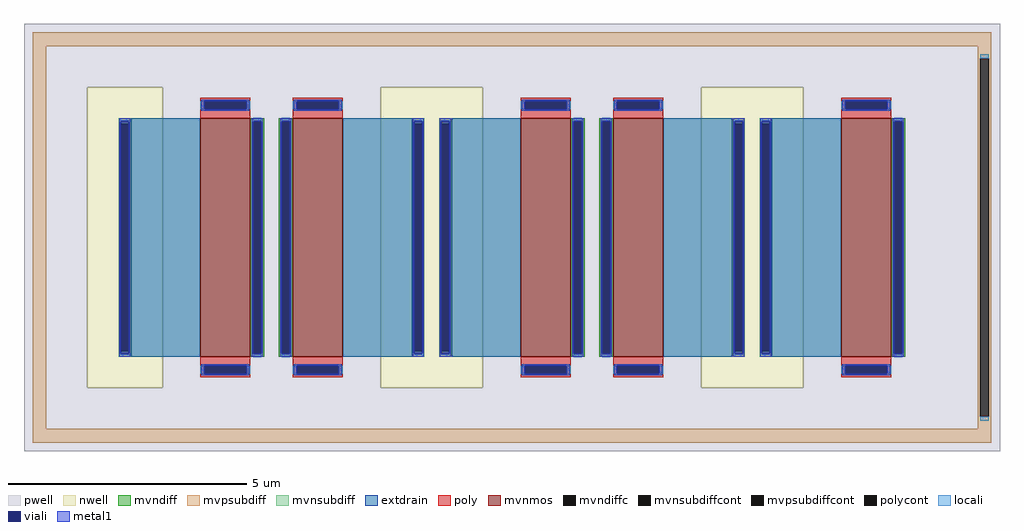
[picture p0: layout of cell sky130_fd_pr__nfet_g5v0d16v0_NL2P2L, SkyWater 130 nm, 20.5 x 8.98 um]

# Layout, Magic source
magic
tech sky130A
magscale 1 2
<< nwell >>
rect -1784 -632 -1468 632
rect -552 -632 -122 632
rect 794 -632 1224 632
<< pwell >>
rect -2050 632 2050 898
rect -2050 -632 -1784 632
rect -1468 -632 -552 632
rect -122 -632 794 632
rect 1224 -632 2050 632
rect -2050 -898 2050 -632
<< mvnmos >>
rect -1309 -500 -1099 500
rect -921 -500 -711 500
rect 37 -500 247 500
rect 425 -500 635 500
rect 1383 -500 1593 500
<< mvndiff >>
rect -1099 488 -1041 500
rect -1099 -488 -1087 488
rect -1053 -488 -1041 488
rect -1099 -500 -1041 -488
rect -979 488 -921 500
rect -979 -488 -967 488
rect -933 -488 -921 488
rect -979 -500 -921 -488
rect 247 488 305 500
rect 247 -488 259 488
rect 293 -488 305 488
rect 247 -500 305 -488
rect 367 488 425 500
rect 367 -488 379 488
rect 413 -488 425 488
rect 367 -500 425 -488
rect 1593 488 1651 500
rect 1593 -488 1605 488
rect 1639 -488 1651 488
rect 1593 -500 1651 -488
<< mvndiffc >>
rect -1087 -488 -1053 488
rect -967 -488 -933 488
rect 259 -488 293 488
rect 379 -488 413 488
rect 1605 -488 1639 488
<< mvpsubdiff >>
rect -2014 804 2014 862
rect -2014 -804 -1956 804
rect 1956 754 2014 804
rect 1956 -754 1968 754
rect 2002 -754 2014 754
rect 1956 -804 2014 -754
rect -2014 -862 2014 -804
<< mvnsubdiff >>
rect -1652 476 -1600 500
rect -1652 -476 -1643 476
rect -1609 -476 -1600 476
rect -1652 -500 -1600 -476
rect -420 476 -368 500
rect -420 -476 -411 476
rect -377 -476 -368 476
rect -420 -500 -368 -476
rect -306 476 -254 500
rect -306 -476 -297 476
rect -263 -476 -254 476
rect -306 -500 -254 -476
rect 926 476 978 500
rect 926 -476 935 476
rect 969 -476 978 476
rect 926 -500 978 -476
rect 1040 476 1092 500
rect 1040 -476 1049 476
rect 1083 -476 1092 476
rect 1040 -500 1092 -476
<< mvpsubdiffcont >>
rect 1968 -754 2002 754
<< mvnsubdiffcont >>
rect -1643 -476 -1609 476
rect -411 -476 -377 476
rect -297 -476 -263 476
rect 935 -476 969 476
rect 1049 -476 1083 476
<< extdrain >>
rect -1600 -500 -1309 500
rect -711 -500 -420 500
rect -254 -500 37 500
rect 635 -500 926 500
rect 1092 -500 1383 500
<< poly >>
rect -1309 572 -1099 588
rect -1309 538 -1293 572
rect -1115 538 -1099 572
rect -1309 500 -1099 538
rect -921 572 -711 588
rect -921 538 -905 572
rect -727 538 -711 572
rect -921 500 -711 538
rect 37 572 247 588
rect 37 538 53 572
rect 231 538 247 572
rect 37 500 247 538
rect 425 572 635 588
rect 425 538 441 572
rect 619 538 635 572
rect 425 500 635 538
rect 1383 572 1593 588
rect 1383 538 1399 572
rect 1577 538 1593 572
rect 1383 500 1593 538
rect -1309 -538 -1099 -500
rect -1309 -572 -1293 -538
rect -1115 -572 -1099 -538
rect -1309 -588 -1099 -572
rect -921 -538 -711 -500
rect -921 -572 -905 -538
rect -727 -572 -711 -538
rect -921 -588 -711 -572
rect 37 -538 247 -500
rect 37 -572 53 -538
rect 231 -572 247 -538
rect 37 -588 247 -572
rect 425 -538 635 -500
rect 425 -572 441 -538
rect 619 -572 635 -538
rect 425 -588 635 -572
rect 1383 -538 1593 -500
rect 1383 -572 1399 -538
rect 1577 -572 1593 -538
rect 1383 -588 1593 -572
<< polycont >>
rect -1293 538 -1115 572
rect -905 538 -727 572
rect 53 538 231 572
rect 441 538 619 572
rect 1399 538 1577 572
rect -1293 -572 -1115 -538
rect -905 -572 -727 -538
rect 53 -572 231 -538
rect 441 -572 619 -538
rect 1399 -572 1577 -538
<< locali >>
rect 1968 754 2002 770
rect -1309 538 -1293 572
rect -1115 538 -1099 572
rect -921 538 -905 572
rect -727 538 -711 572
rect 37 538 53 572
rect 231 538 247 572
rect 425 538 441 572
rect 619 538 635 572
rect 1383 538 1399 572
rect 1577 538 1593 572
rect -1643 488 -1609 492
rect -1643 -492 -1609 -488
rect -1087 488 -1053 504
rect -1087 -504 -1053 -488
rect -967 488 -933 504
rect -967 -504 -933 -488
rect -411 488 -377 492
rect -411 -492 -377 -488
rect -297 488 -263 492
rect -297 -492 -263 -488
rect 259 488 293 504
rect 259 -504 293 -488
rect 379 488 413 504
rect 379 -504 413 -488
rect 935 488 969 492
rect 935 -492 969 -488
rect 1049 488 1083 492
rect 1049 -492 1083 -488
rect 1605 488 1639 504
rect 1605 -504 1639 -488
rect -1309 -572 -1293 -538
rect -1115 -572 -1099 -538
rect -921 -572 -905 -538
rect -727 -572 -711 -538
rect 37 -572 53 -538
rect 231 -572 247 -538
rect 425 -572 441 -538
rect 619 -572 635 -538
rect 1383 -572 1399 -538
rect 1577 -572 1593 -538
rect 1968 -770 2002 -754
<< viali >>
rect -1293 538 -1115 572
rect -905 538 -727 572
rect 53 538 231 572
rect 441 538 619 572
rect 1399 538 1577 572
rect -1643 476 -1609 488
rect -1643 -476 -1609 476
rect -1643 -488 -1609 -476
rect -1087 -488 -1053 488
rect -967 -488 -933 488
rect -411 476 -377 488
rect -411 -476 -377 476
rect -411 -488 -377 -476
rect -297 476 -263 488
rect -297 -476 -263 476
rect -297 -488 -263 -476
rect 259 -488 293 488
rect 379 -488 413 488
rect 935 476 969 488
rect 935 -476 969 476
rect 935 -488 969 -476
rect 1049 476 1083 488
rect 1049 -476 1083 476
rect 1049 -488 1083 -476
rect 1605 -488 1639 488
rect -1293 -572 -1115 -538
rect -905 -572 -727 -538
rect 53 -572 231 -538
rect 441 -572 619 -538
rect 1399 -572 1577 -538
<< metal1 >>
rect -1305 572 -1103 578
rect -1305 538 -1293 572
rect -1115 538 -1103 572
rect -1305 532 -1103 538
rect -917 572 -715 578
rect -917 538 -905 572
rect -727 538 -715 572
rect -917 532 -715 538
rect 41 572 243 578
rect 41 538 53 572
rect 231 538 243 572
rect 41 532 243 538
rect 429 572 631 578
rect 429 538 441 572
rect 619 538 631 572
rect 429 532 631 538
rect 1387 572 1589 578
rect 1387 538 1399 572
rect 1577 538 1589 572
rect 1387 532 1589 538
rect -1649 488 -1603 500
rect -1649 -488 -1643 488
rect -1609 -488 -1603 488
rect -1649 -500 -1603 -488
rect -1093 488 -1047 500
rect -1093 -488 -1087 488
rect -1053 -488 -1047 488
rect -1093 -500 -1047 -488
rect -973 488 -927 500
rect -973 -488 -967 488
rect -933 -488 -927 488
rect -973 -500 -927 -488
rect -417 488 -371 500
rect -417 -488 -411 488
rect -377 -488 -371 488
rect -417 -500 -371 -488
rect -303 488 -257 500
rect -303 -488 -297 488
rect -263 -488 -257 488
rect -303 -500 -257 -488
rect 253 488 299 500
rect 253 -488 259 488
rect 293 -488 299 488
rect 253 -500 299 -488
rect 373 488 419 500
rect 373 -488 379 488
rect 413 -488 419 488
rect 373 -500 419 -488
rect 929 488 975 500
rect 929 -488 935 488
rect 969 -488 975 488
rect 929 -500 975 -488
rect 1043 488 1089 500
rect 1043 -488 1049 488
rect 1083 -488 1089 488
rect 1043 -500 1089 -488
rect 1599 488 1645 500
rect 1599 -488 1605 488
rect 1639 -488 1645 488
rect 1599 -500 1645 -488
rect -1305 -538 -1103 -532
rect -1305 -572 -1293 -538
rect -1115 -572 -1103 -538
rect -1305 -578 -1103 -572
rect -917 -538 -715 -532
rect -917 -572 -905 -538
rect -727 -572 -715 -538
rect -917 -578 -715 -572
rect 41 -538 243 -532
rect 41 -572 53 -538
rect 231 -572 243 -538
rect 41 -578 243 -572
rect 429 -538 631 -532
rect 429 -572 441 -538
rect 619 -572 631 -538
rect 429 -578 631 -572
rect 1387 -538 1589 -532
rect 1387 -572 1399 -538
rect 1577 -572 1589 -538
rect 1387 -578 1589 -572
<< properties >>
string FIXED_BBOX -1985 -833 1985 833
string gencell sky130_fd_pr__nfet_g5v0d16v0
string library sky130
string parameters w 5.00 l 1.050 m 1 nf 5 diffcov 100 polycov 100 guard 1 glc 0 grc 1 gtc 0 gbc 0 tbcov 100 rlcov 100 topc 1 botc 1 poverlap 0 doverlap 0 lmin 1.050 wmin 5.00 full_metal 0 viasrc 100 viadrn 100 viagate 100 viagb 0 viagr 0 viagl 0 viagt 0
<< end >>
